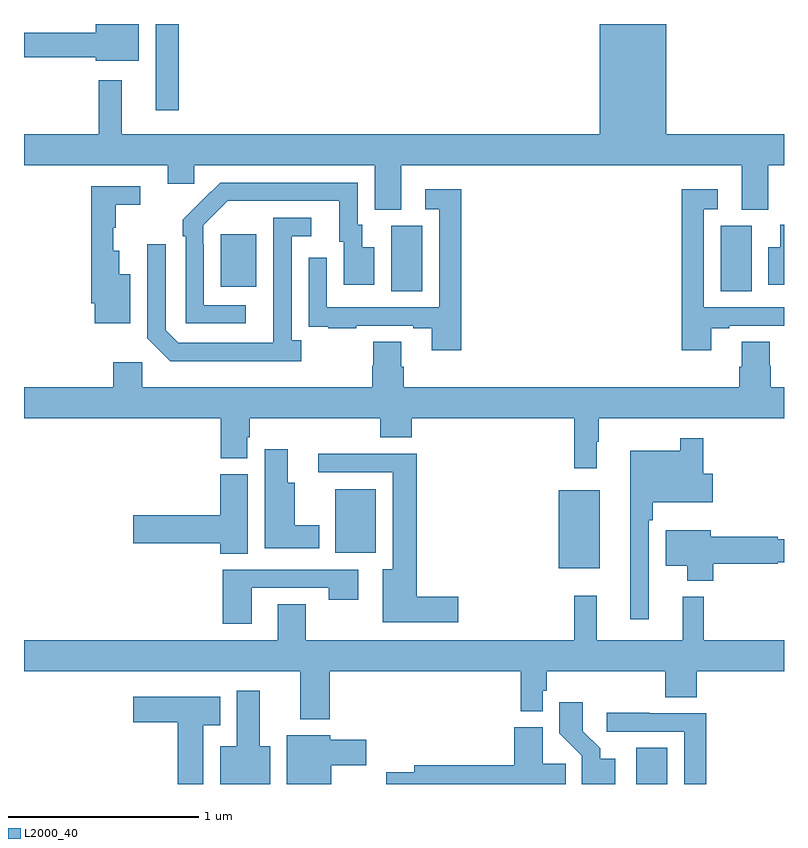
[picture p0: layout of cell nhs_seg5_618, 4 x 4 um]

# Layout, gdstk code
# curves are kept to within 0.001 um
import gdstk
lib = gdstk.Library(unit=1e-6, precision=1e-09)
def R(c, l, rs):  # rectangles x0, y0, x1, y1
    for r in rs: c.add(gdstk.rectangle(r[:2], r[2:], *l))
def P(c, l, *ps):  # polygons
    for p in ps: c.add(gdstk.Polygon(p, *l))
L2000_40 = (2000, 40)

nhs_seg5_618 = lib.new_cell('nhs_seg5_618')
R(nhs_seg5_618, L2000_40, [(152.222,890.799,152.386,890.99), (151.814,891.935,152.029,892.345), (150.638,892.016,150.85,892.351), (150.932,893.392,151.096,893.736), (152.666,893.392,152.83,893.736), (150.035,893.417,150.223,893.692), (149.693,894.345,149.815,894.799)])
P(nhs_seg5_618, L2000_40, [(150.985,894.056),(152.777,894.056),(152.777,893.821),(152.917,893.821),(152.917,894.056),(153,894.056),(153,894.22),(152.38,894.22),(152.38,894.799),(152.03,894.799),(152.03,894.22),(149.515,894.22),(149.515,894.502),(149.394,894.502),(149.394,894.22),(149,894.22),(149,894.056),(149.756,894.056),(149.756,893.958),(149.895,893.958),(149.895,894.056),(150.845,894.056),(150.845,893.821),(150.985,893.821)],
  [(149.605,894.799),(149.378,894.799),(149.378,894.752),(149,894.752),(149,894.624),(149.378,894.624),(149.378,894.605),(149.605,894.605)],
  [(150.166,893.319),(149.946,893.319),(149.946,893.639),(149.943,893.639),(149.943,893.739),(150.072,893.868),(150.659,893.868),(150.659,893.652),(150.683,893.652),(150.683,893.427),(150.844,893.427),(150.844,893.623),(150.781,893.623),(150.781,893.742),(150.756,893.742),(150.756,893.964),(150.032,893.964),(149.835,893.769),(149.835,893.681),(149.85,893.681),(149.85,893.223),(150.166,893.223)],
  [(149.56,893.482),(149.5,893.482),(149.5,893.605),(149.471,893.605),(149.471,893.727),(149.482,893.727),(149.482,893.848),(149.611,893.848),(149.611,893.946),(149.353,893.946),(149.353,893.329),(149.372,893.329),(149.372,893.225),(149.56,893.225)],
  [(151.301,893.929),(151.113,893.929),(151.113,893.823),(151.185,893.823),(151.185,893.307),(150.594,893.307),(150.594,893.569),(150.498,893.569),(150.498,893.314),(150.499,893.314),(150.499,893.205),(150.601,893.205),(150.601,893.199),(150.749,893.199),(150.749,893.211),(151.049,893.211),(151.049,893.199),(151.145,893.199),(151.145,893.082),(151.301,893.082)],
  [(152.617,893.199),(152.713,893.199),(152.713,893.211),(153,893.211),(153,893.307),(152.577,893.307),(152.577,893.823),(152.65,893.823),(152.65,893.929),(152.461,893.929),(152.461,893.082),(152.617,893.082)],
  [(150.46,893.134),(150.408,893.134),(150.408,893.682),(150.511,893.682),(150.511,893.778),(150.312,893.778),(150.311,893.121),(149.811,893.121),(149.745,893.187),(149.745,893.641),(149.649,893.641),(149.649,893.145),(149.77,893.024),(150.46,893.024)],
  [(153,893.742),(152.981,893.742),(152.981,893.623),(152.918,893.623),(152.918,893.427),(153,893.427)],
  [(152.014,892.601),(152.026,892.601),(152.026,892.724),(153,892.724),(153,892.888),(152.93,892.888),(152.93,893.001),(152.925,893.001),(152.925,893.126),(152.777,893.126),(152.777,892.994),(152.765,892.994),(152.765,892.888),(150.998,892.888),(150.998,892.994),(150.985,892.994),(150.985,893.126),(150.838,893.126),(150.838,893.001),(150.833,893.001),(150.833,892.888),(149.622,892.888),(149.622,893.02),(149.471,893.02),(149.471,892.888),(149,892.888),(149,892.724),(150.035,892.724),(150.035,892.513),(150.175,892.513),(150.175,892.623),(150.188,892.623),(150.188,892.724),(150.875,892.724),(150.875,892.625),(151.04,892.625),(151.04,892.724),(151.897,892.724),(151.897,892.461),(152.014,892.461)],
  [(152.289,892.187),(152.309,892.187),(152.309,892.283),(152.626,892.283),(152.626,892.431),(152.575,892.431),(152.575,892.618),(152.454,892.618),(152.454,892.552),(152.192,892.552),(152.192,891.666),(152.289,891.666)],
  [(150.553,892.162),(150.424,892.162),(150.424,892.384),(150.388,892.384),(150.388,892.561),(150.266,892.561),(150.266,892.04),(150.553,892.04)],
  [(151.285,891.785),(151.067,891.785),(151.067,892.538),(150.549,892.538),(150.549,892.44),(150.941,892.44),(150.941,891.928),(150.887,891.928),(150.887,891.65),(151.285,891.65)],
  [(150.178,892.428),(150.032,892.428),(150.032,892.214),(149.574,892.214),(149.574,892.067),(150.032,892.067),(150.032,892.012),(150.178,892.012)],
  [(152.627,891.958),(152.966,891.958),(152.966,891.965),(153,891.965),(153,892.087),(152.966,892.087),(152.966,892.1),(152.614,892.1),(152.614,892.135),(152.378,892.135),(152.378,891.947),(152.492,891.947),(152.492,891.869),(152.627,891.869)],
  [(150.199,891.831),(150.604,891.831),(150.604,891.768),(150.76,891.768),(150.76,891.927),(150.047,891.927),(150.047,891.642),(150.199,891.642)],
  [(150.608,891.392),(151.615,891.392),(151.615,891.182),(151.731,891.182),(151.731,891.291),(151.751,891.291),(151.751,891.392),(152.375,891.392),(152.375,891.256),(152.54,891.256),(152.54,891.392),(153,891.392),(153,891.556),(152.578,891.556),(152.578,891.784),(152.468,891.784),(152.468,891.556),(152.015,891.556),(152.015,891.79),(151.897,891.79),(151.897,891.556),(150.483,891.556),(150.483,891.746),(150.335,891.746),(150.335,891.556),(149,891.556),(149,891.392),(150.455,891.392),(150.455,891.14),(150.608,891.14)],
  [(150.295,890.998),(150.241,890.998),(150.241,891.289),(150.119,891.289),(150.119,890.998),(150.032,890.998),(150.032,890.799),(150.295,890.799)],
  [(149.944,891.107),(150.034,891.107),(150.034,891.259),(149.574,891.259),(149.574,891.125),(149.81,891.125),(149.81,890.799),(149.944,890.799)],
  [(152.113,890.932),(152.032,890.932),(152.032,890.987),(151.942,891.077),(151.942,891.229),(151.816,891.229),(151.816,891.066),(151.935,890.947),(151.935,890.799),(152.113,890.799)],
  [(152.591,891.171),(152.291,891.171),(152.291,891.174),(152.067,891.174),(152.067,891.075),(152.475,891.075),(152.475,890.799),(152.591,890.799)],
  [(151.85,890.906),(151.729,890.906),(151.729,891.097),(151.58,891.097),(151.58,890.897),(151.055,890.897),(151.055,890.861),(150.906,890.861),(150.906,890.799),(151.85,890.799)],
  [(150.616,890.897),(150.802,890.897),(150.802,891.031),(150.612,891.031),(150.612,891.055),(150.383,891.055),(150.383,890.799),(150.616,890.799)])

lib.write_gds('nhs_seg5_618.gds')
